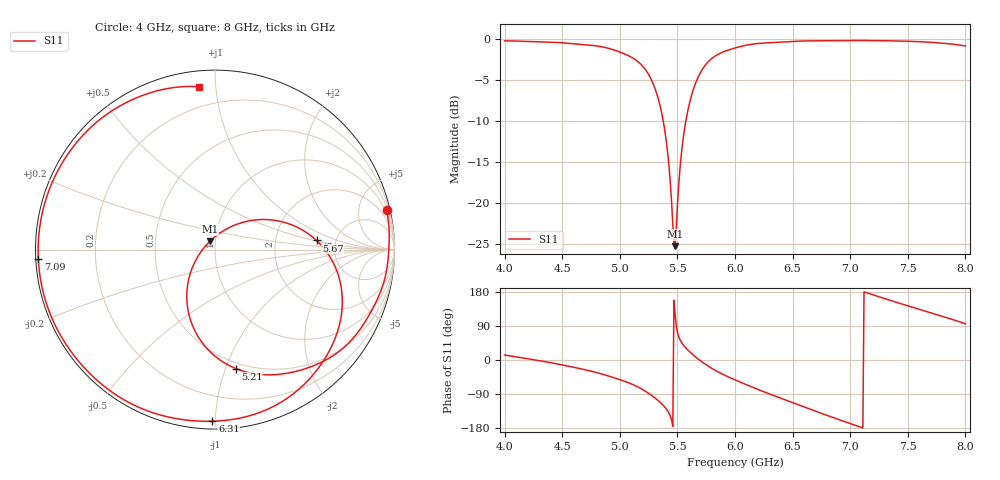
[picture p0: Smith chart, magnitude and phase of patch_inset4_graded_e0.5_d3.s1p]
! NobuRF patch_inset4_graded_e0.5_d3: port "feed", 9000 steps
# GHz S RI R 50
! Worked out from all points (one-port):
!   401 points, 4 GHz to 8 GHz, reference 50 ohm
!   lowest |S11| = -25.3 dB at 5.48 GHz (marker M1), VSWR 1.12, Z = 47.1 + j4.46 ohm
!   |S11| at or under -10 dB: 5.377 GHz to 5.573 GHz (195.5 MHz wide, 3.57 % of centre)
!   S11 on the Smith chart (normalised r, x): 4 GHz: 0.71, +8.63; 5.21 GHz: 0.45, -1.08; 5.67 GHz: 3.54, +0.53; 6.31 GHz: 0.04, -0.98; 7.09 GHz: 0.01, -0.03; 8 GHz: 0.08, +0.90
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4  0.9558 0.2229
4.5  0.9296 -0.2156
4.78  0.7798 -0.4816
5  0.5192 -0.6581
5.21  0.1153 -0.6627
5.3  -0.0792 -0.5079
5.37  -0.1556 -0.2993
5.42  -0.1373 -0.1306
5.46  -0.0739 -0.0061
5.48  -0.0274 0.0472
5.5  0.0273 0.0921
5.53  0.1214 0.1411
5.56  0.2239 0.1653
5.61  0.3948 0.1493
5.67  0.5656 0.0507
5.74  0.6821 -0.1278
5.81  0.7088 -0.3173
6  0.5415 -0.7034
6.16  0.2766 -0.8966
6.31  -0.0144 -0.9563
6.5  -0.3739 -0.8992
6.76  -0.7727 -0.6066
7  -0.9639 -0.2094
7.09  -0.9845 -0.0497
7.29  -0.9392 0.289
7.5  -0.7783 0.5878
7.76  -0.4615 0.835
8  -0.0894 0.9076
